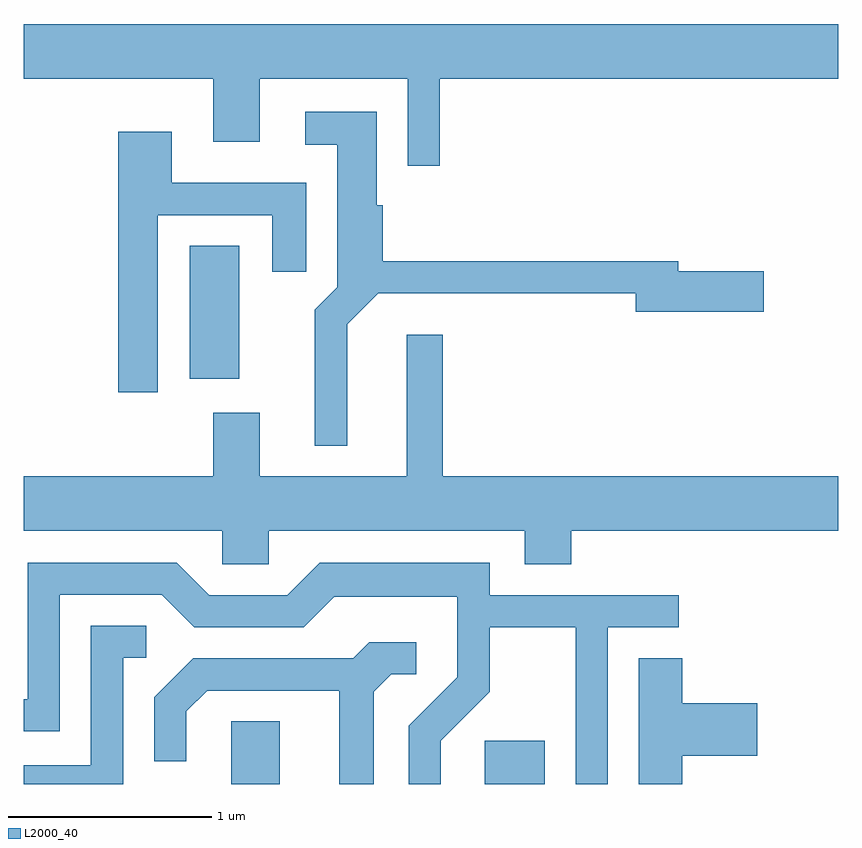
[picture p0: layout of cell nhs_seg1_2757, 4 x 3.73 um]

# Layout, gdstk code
import gdstk
lib = gdstk.Library(unit=1e-6, precision=1e-09)
def R(c, l, rs):  # rectangles x0, y0, x1, y1
    for r in rs: c.add(gdstk.rectangle(r[:2], r[2:], *l))
def P(c, l, *ps):  # polygons
    for p in ps: c.add(gdstk.Polygon(p, *l))
L2000_40 = (2000, 40)

nhs_seg1_2757 = lib.new_cell('nhs_seg1_2757')
R(nhs_seg1_2757, L2000_40, [(270.631,851.712,270.869,852.019), (271.876,851.712,272.169,851.924), (270.426,853.701,270.669,854.354)])
P(nhs_seg1_2757, L2000_40, [(271.654,855.176),(273.611,855.176),(273.611,855.444),(269.611,855.444),(269.611,855.176),(270.541,855.176),(270.541,854.866),(270.769,854.866),(270.769,855.176),(271.496,855.176),(271.496,854.748),(271.654,854.748)],
  [(271.199,853.969),(271.352,854.121),(272.616,854.121),(272.616,854.031),(273.244,854.031),(273.244,854.229),(272.824,854.229),(272.824,854.279),(271.374,854.279),(271.374,854.554),(271.344,854.554),(271.344,855.014),(270.993,855.014),(270.993,854.851),(271.151,854.851),(271.151,854.152),(271.041,854.042),(271.041,853.373),(271.199,853.373)],
  [(270.269,854.506),(270.831,854.506),(270.831,854.228),(270.999,854.228),(270.999,854.664),(270.339,854.664),(270.339,854.914),(270.076,854.914),(270.076,853.636),(270.269,853.636)],
  [(270.814,852.956),(272.071,852.956),(272.071,852.791),(272.299,852.791),(272.299,852.956),(273.611,852.956),(273.611,853.224),(271.669,853.224),(271.669,853.919),(271.491,853.919),(271.491,853.224),(270.769,853.224),(270.769,853.534),(270.541,853.534),(270.541,853.224),(269.611,853.224),(269.611,852.956),(270.586,852.956),(270.586,852.791),(270.814,852.791)],
  [(271.659,851.924),(271.899,852.164),(271.899,852.481),(272.321,852.481),(272.321,851.712),(272.479,851.712),(272.479,852.481),(272.828,852.481),(272.828,852.639),(271.899,852.639),(271.899,852.799),(271.064,852.799),(270.904,852.639),(270.522,852.639),(270.362,852.799),(269.631,852.799),(269.631,852.129),(269.611,852.129),(269.611,851.971),(269.789,851.971),(269.789,852.641),(270.289,852.641),(270.449,852.481),(270.987,852.481),(271.137,852.631),(271.741,852.631),(271.741,852.237),(271.501,851.997),(271.501,851.712),(271.659,851.712)],
  [(270.099,852.331),(270.213,852.331),(270.213,852.489),(269.941,852.489),(269.941,851.804),(269.611,851.804),(269.611,851.712),(270.099,851.712)],
  [(271.329,852.164),(271.417,852.251),(271.538,852.251),(271.538,852.409),(271.309,852.409),(271.229,852.329),(270.444,852.329),(270.251,852.137),(270.251,851.823),(270.409,851.823),(270.409,852.069),(270.512,852.171),(271.161,852.171),(271.161,851.712),(271.329,851.712)],
  [(272.844,851.851),(273.214,851.851),(273.214,852.109),(272.844,852.109),(272.844,852.329),(272.631,852.329),(272.631,851.712),(272.844,851.712)])

lib.write_gds('nhs_seg1_2757.gds')
